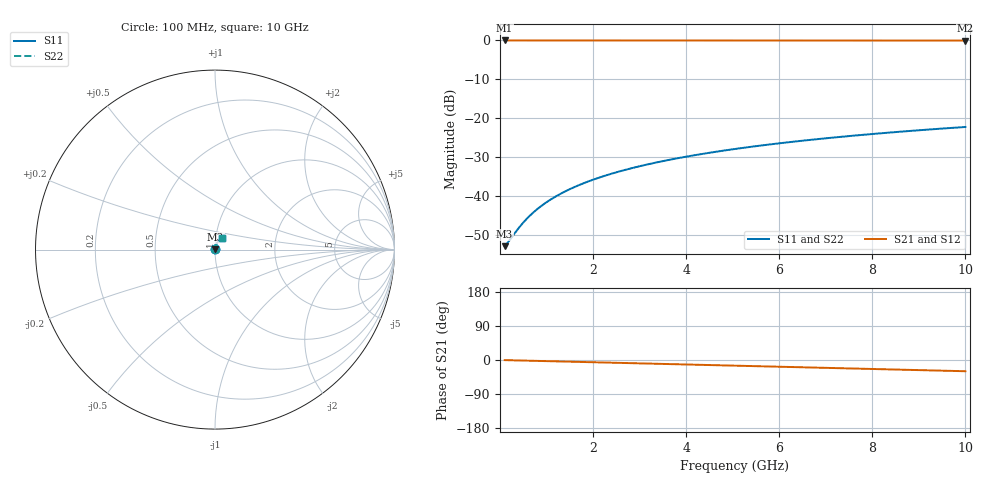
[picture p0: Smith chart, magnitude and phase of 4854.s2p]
# Hz S RI R 50.00
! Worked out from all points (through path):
!   100 points, 100 MHz to 10 GHz, reference 50 ohm
!   highest |S21| = -0.02 dB at 100 MHz (marker M1); lowest = 0.0 dB at 10 GHz (marker M2)
!   group delay of S21, straight-line fit = 8.24 ps
!   lowest |S11| = -52.8 dB at 100 MHz (marker M3), VSWR 1.00, Z = 50.2 + j0.0804 ohm
!   |S11| at or under -10 dB: start of sweep to end of sweep
!   |S22| runs from -52.8 to -22.2 dB; largest |S21 - S12| = 0
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1e8  0.00215 0.0008  0.9978 -0.00514  0.9978 -0.00514  0.00215 0.0008
2e8  0.00218 0.0016  0.9978 -0.0103  0.9978 -0.0103  0.00218 0.0016
4e8  0.00224 0.0032  0.9976 -0.0206  0.9976 -0.0206  0.00224 0.0032
5e8  0.00229 0.004  0.9975 -0.0257  0.9975 -0.0257  0.00229 0.004
6e8  0.00234 0.0048  0.9973 -0.0309  0.9973 -0.0309  0.00234 0.0048
7e8  0.00239 0.0056  0.9971 -0.036  0.9971 -0.036  0.00239 0.0056
8e8  0.00246 0.00639  0.9969 -0.0411  0.9969 -0.0411  0.00246 0.00639
1e9  0.00261 0.00798  0.9964 -0.0514  0.9964 -0.0514  0.00261 0.00798
1.2e9  0.0028 0.00957  0.9958 -0.0617  0.9958 -0.0617  0.0028 0.00957
1.5e9  0.00314 0.0119  0.9947 -0.0771  0.9947 -0.0771  0.00314 0.0119
1.8e9  0.00355 0.0143  0.9933 -0.0925  0.9933 -0.0925  0.00355 0.0143
2.1e9  0.00404 0.0167  0.9917 -0.1078  0.9917 -0.1078  0.00404 0.0167
2.5e9  0.0048 0.0198  0.9892 -0.1283  0.9892 -0.1283  0.0048 0.0198
2.9e9  0.00568 0.0228  0.9862 -0.1487  0.9862 -0.1487  0.00568 0.0228
3.4e9  0.00697 0.0266  0.982 -0.1741  0.982 -0.1741  0.00697 0.0266
4.2e9  0.00942 0.0325  0.9737 -0.2144  0.9737 -0.2144  0.00942 0.0325
5.1e9  0.0128 0.0388  0.9624 -0.2595  0.9624 -0.2595  0.0128 0.0388
5.9e9  0.0162 0.0442  0.9505 -0.299  0.9505 -0.299  0.0162 0.0442
6.7e9  0.0201 0.0493  0.937 -0.338  0.937 -0.338  0.0201 0.0493
7.5e9  0.0244 0.054  0.9218 -0.3764  0.9218 -0.3764  0.0244 0.054
8.4e9  0.0297 0.0589  0.9028 -0.4188  0.9028 -0.4188  0.0297 0.0589
1e10  0.0402 0.0663  0.8642 -0.4919  0.8642 -0.4919  0.0402 0.0663
